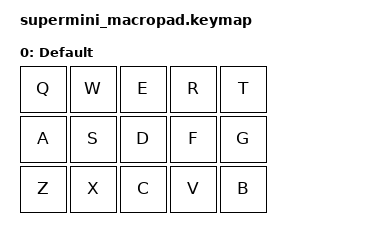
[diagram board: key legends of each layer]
/ {
    keymap {
        compatible = "zmk,keymap";

        default_layer {
            display-name = "Default";
            bindings = <
                &kp Q &kp W &kp E &kp R &kp T
                &kp A &kp S &kp D &kp F &kp G
                &kp Z &kp X &kp C &kp V &kp B
            >;
        };
    };

    behaviors {
        encoder_ccw: encoder_ccw {
            compatible = "zmk,behavior-tap";
            label = "ENCODER CCW";
            #binding-cells = <0>;
            bindings = <&kp VOL_DN>;
        };

        encoder_cw: encoder_cw {
            compatible = "zmk,behavior-tap";
            label = "ENCODER CW";
            #binding-cells = <0>;
            bindings = <&kp VOL_UP>;
        };
    };

    rotary-encoder-bindings {
        compatible = "zmk,behavior-binding";
        bindings = <&encoder_ccw>, <&encoder_cw>;
    };
};
